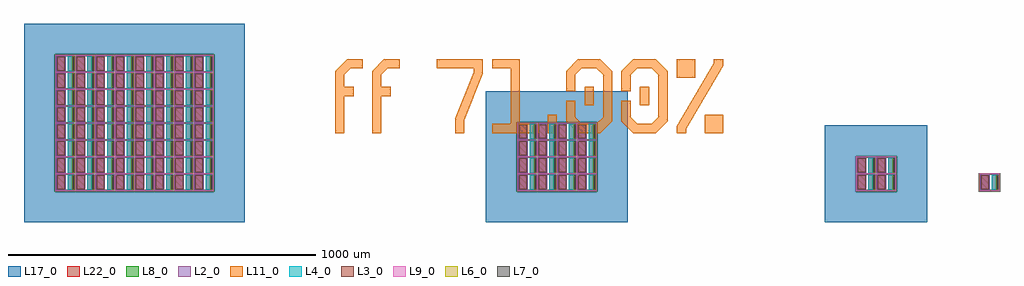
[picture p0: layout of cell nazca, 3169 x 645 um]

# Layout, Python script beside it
import nazca as nd 
from n_metal_open_v2 import n_metal_ring_process
from p_rings_metal_openings import p_metal_contact_structure
import numpy as np
from device_for_array import draw_device
from frame import draw_frame, draw_frame_no_pins




p_metal_layer = 2
p_metal_layer_opening = 3
n_metal_etch_semi_layer = 6
n_metal_deposition_layer = 4
n_metal_opening_bottom_sio_layer = 7
EPI_1_islands_layer  = 8
isolation_between_devices = 9
extra_TPA_metal_layer = 22
text_description_layer  = 11
dicing_lane_layer = 17

def one_device():
    with nd.Cell(name = "One Device") as one_device_for_array:

        frame_length = 50
        frame_width = 50
        dicing_area = 2
        frame_layer = 8

        sio_cover_for_regrowth = draw_frame_no_pins(frame_length, frame_width, dicing_area,frame_layer).put(0,0)

        #P-metal layer Ti/Pt/Au, layer number 2
        p_contact_length = 30
        p_contact_width  = frame_width
        p_contact_layer  = 2
        p_metal_contact = nd.strt(length = p_contact_length, width = p_contact_width, layer = p_contact_layer).put(-25,0)

        #P-metal layer, extra Ti/Pt/Au, layer number 22
        p_contact_length = 30
        p_contact_width  = frame_width
        p_contact_layer  = 22
        p_metal_contact = nd.strt(length = p_contact_length, width = p_contact_width, layer = p_contact_layer).put(-25,0)



        p_contact__sio_opening_length = 25
        p_contact__sio_opening_width  = frame_width-5
        p_contact__sio_opening_layer = 3
        p_metal_contact = nd.strt(length = p_contact__sio_opening_length, width = p_contact__sio_opening_width, layer = p_contact__sio_opening_layer).put(-22.5-25+25,0)


        n_contact_position = 0
        n_contact_length  = 22.5
        n_contact_width  = p_contact_width
        n_contact_layer = 4
        distance_p_n_contacts  = 1.5
        only_metal_contact_move_for_n = -12.0
        n_contact = nd.strt(length = n_contact_length, width = n_contact_width, layer = n_contact_layer).put(11.5 + n_contact_position,0)
        n_contact_layer = 22
        n_contact = nd.strt(length = n_contact_length, width = n_contact_width, layer = n_contact_layer).put(11.5 + n_contact_position,0)

        n_contact_semi_etch_length  = 7
        n_contact_semi_etch_width  = frame_width-3
        n_contact__semi_etch_layer = 6
        semi_etch_distance = 8.5
        n_contact = nd.strt(length = n_contact_semi_etch_length, width = n_contact_semi_etch_width, layer = n_contact__semi_etch_layer).put(27.0 +  n_contact_position,0)

        n_contact_sio_bot_etch_length  = 5
        n_contact_sio_bot_etch_width  = frame_width-5
        n_contact_sio_bot_etch_layer = 7
        semi_etch_distance = 9.5
        n_contact = nd.strt(length = n_contact_sio_bot_etch_length, width = n_contact_sio_bot_etch_width, layer = n_contact_sio_bot_etch_layer).put(28.0 + n_contact_position,0)

        p_metal_contact = nd.strt(length = n_contact_semi_etch_length, width = frame_width, layer = EPI_1_islands_layer).put(27.0 +  n_contact_position,0)



        tota_frame_length = frame_width+9
        total_frame_width = frame_width
        total_frame_dicing_area = 5
        tota_frame_layer = 8
        total_frame = draw_frame_no_pins(tota_frame_length, total_frame_width, total_frame_dicing_area,tota_frame_layer).put(4.5,0)



        isolation_length = frame_width+11.5
        isolation_width = frame_width+2.5
        isolation_dicing_area = 2.5
        isolation_layer = 9
        isolation_region = draw_frame_no_pins(isolation_length, isolation_width, isolation_dicing_area,isolation_layer).put(4.5,0)

    return one_device_for_array





def pd_array_1x1_device():
    with nd.Cell(name = "The 1 by 1 device") as pd_1x1:
        tota_frame_length = 100+4
        print("total frame length {}".format(tota_frame_length))
        total_frame_width = 45
        total_frame_dicing_area = 10
        array_x = 1
        array_y = array_x
        for i in range(array_x):
            for j in range(array_y):
                one_device().put(i*(64.0),j*(55.0))





        x_array_dimension = total_frame_width*array_y
        y_array_dimension = tota_frame_length*array_x
        print(x_array_dimension)
        print(y_array_dimension)



        active_area = 100*100

        frame_length = 114
        frame_width = 105
        fill_factor = (active_area/(frame_length*frame_width))*100
        print(fill_factor)
        layer_text = 11
        # fill_factor_letters = nd.text("ff {:.2f}%".format(fill_factor), height=300,layer=layer_text).put(0,100)

    return pd_1x1

def pd_array_2x2_device():
    with nd.Cell(name = "The 2 by 2 device") as pd_2x2:
        tota_frame_length = 69
        print("total frame length {}".format(tota_frame_length))
        total_frame_width = 45
        total_frame_dicing_area = 10
        array_x = 2
        array_y = array_x
        for i in range(array_x):
            for j in range(array_y):
                one_device().put(i*(64),j*(55))





        x_array_dimension = total_frame_width*array_y
        y_array_dimension = tota_frame_length*array_x
        print(x_array_dimension)
        print(y_array_dimension)



        active_area = 100*100

        frame_length = 114
        frame_width = 105
        fill_factor = (active_area/(frame_length*frame_width))*100
        print(fill_factor)
        layer_text = 11
        # fill_factor_letters = nd.text("ff {:.2f}%".format(fill_factor), height=300,layer=layer_text).put(0,100)
        dicing_lane_device = draw_frame_no_pins(length = 917-456-228-45-15-40, width =-40 + 845-420-210-45-15, dicing_area= 100, frame_layer=dicing_lane_layer).put(-10+303.5+100-228-14-100-15,-10-15-105-210+100+267.5)


    return pd_2x2


def pd_array_4x4_device():
    with nd.Cell(name = "The 4 by 4 device") as pd_4x4:
        tota_frame_length = 100+4
        print("total frame length {}".format(tota_frame_length))
        total_frame_width = 45
        total_frame_dicing_area = 10
        array_x = 4
        array_y = array_x
        for i in range(array_x):
            for j in range(array_y):
                one_device().put(i*(64),j*(55))





        x_array_dimension = total_frame_width*array_y
        y_array_dimension = tota_frame_length*array_x
        print(x_array_dimension)
        print(y_array_dimension)



        active_area = 100*100

        frame_length = 114
        frame_width = 105
        fill_factor = (active_area/(frame_length*frame_width))*100
        print(fill_factor)
        layer_text = 11
        # fill_factor_letters = nd.text("ff {:.2f}%".format(fill_factor), height=300,layer=layer_text).put(0,100)
        dicing_lane_device = draw_frame_no_pins(length = 917-456-105-15-70-10, width =-80-105-15+ 845-420, dicing_area= 100, frame_layer=dicing_lane_layer).put(303.5+100-228-45-30,-30-45-210+100+267.5)


    return pd_4x4






def pd_array_8x8_device():
    with nd.Cell(name = "The 4 by 4 device") as pd_8x8:
        tota_frame_length = 100+4
        print("total frame length {}".format(tota_frame_length))
        total_frame_width = 45
        total_frame_dicing_area = 10
        array_x = 8
        array_y = array_x
        for i in range(array_x):
            for j in range(array_y):
                one_device().put(i*(64),j*(55))





        x_array_dimension = total_frame_width*array_y
        y_array_dimension = tota_frame_length*array_x
        print(x_array_dimension)
        print(y_array_dimension)



        active_area = 100*100

        frame_length = 114
        frame_width = 105
        fill_factor = (active_area/(frame_length*frame_width))*100
        print(fill_factor)
        layer_text = 11
        fill_factor_letters = nd.text("ff {:.2f}%".format(71), height=300,layer=layer_text).put(880,100)
        dicing_lane_device = draw_frame_no_pins(length = 917-15-225-150-10, width = 845-15-225-150-10, dicing_area= 100, frame_layer=dicing_lane_layer).put(-105+303.5+100-70,-70-105+100+267.5)


    return pd_8x8


pd_array_1x1_device().put(0,0)
pd_array_2x2_device().put(-400,0)
pd_array_4x4_device().put(-1500,0)
pd_array_8x8_device().put(-3000,0)

# pd_array_1x1_device().put(0,0)


nd.export_gds(filename="square_PD_array_50x50.gds")
